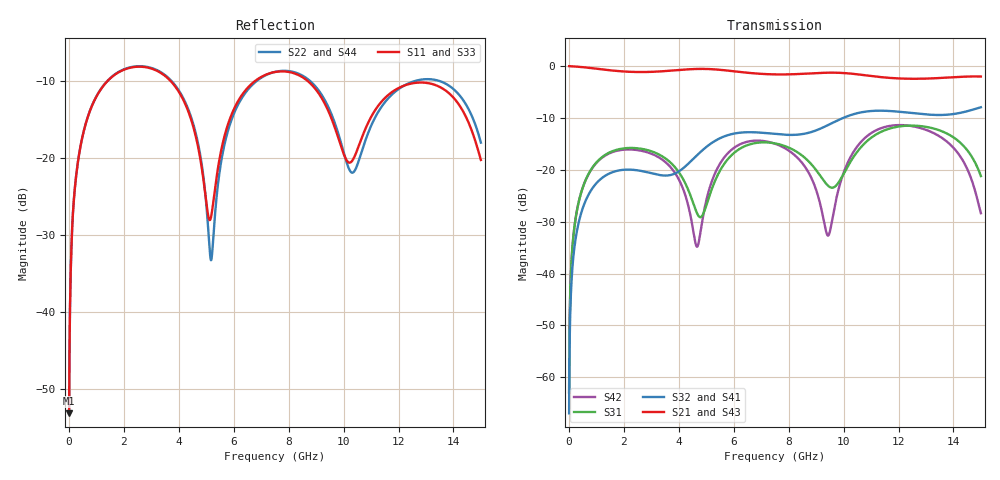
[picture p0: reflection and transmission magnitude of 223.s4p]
! Created with skrf 1.8.0 (http://scikit-rf.org).
# GHz S RI R 50.0
!freq ReS11 ImS11 ReS12 ImS12 ReS13 ImS13
! ReS14 ImS14
! ReS21 ImS21 ReS22 ImS22 ReS23 ImS23
! ReS24 ImS24
! ReS31 ImS31 ReS32 ImS32 ReS33 ImS33
! ReS34 ImS34
! ReS41 ImS41 ReS42 ImS42 ReS43 ImS43
! ReS44 ImS44
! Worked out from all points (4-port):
!   2499 points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, 5 MHz to 15 GHz, reference 50 ohm
!   strongest paths, dB at 5 MHz, 3.476 GHz, 7.19 GHz, 11.1 GHz, 15 GHz:
!     S21: 0.0, -1.0, -1.5, -2.0, -2.0
!     S43: 0.0, -1.0, -1.5, -2.0, -2.0
!     S32: -66.9, -21.1, -12.9, -8.6, -7.9
!     S41: -66.9, -21.1, -12.9, -8.6, -7.9
!     S31: -62.9, -17.7, -14.7, -13.5, -21.2
!     S42: -62.9, -18.4, -14.5, -12.6, -28.4
!   lowest |S11| = -53.2 dB at 5 MHz (marker M1), VSWR 1.00, Z = 50.2 + j0.132 ohm
!   |S11| at or under -10 dB: start of sweep to 1.414 GHz; 3.691 GHz to 6.79 GHz (3.099 GHz wide, 59.1 % of centre); 8.681 GHz to end of sweep
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0.005  0.00174 0.00132  0.9982 -0.00339  8.85e-05 0.000708  -8.57e-05 -0.000441
       0.9982 -0.00339  0.00174 0.00132  -8.57e-05 -0.000441  8.83e-05 0.000708
       8.85e-05 0.000708  -8.57e-05 -0.000441  0.00174 0.00132  0.9982 -0.00339
       -8.57e-05 -0.000441  8.83e-05 0.000708  0.9982 -0.00339  0.00174 0.00132
0.3626511  0.0334 0.0982  0.9538 -0.2416  0.0169 0.0472  -0.0135 -0.0288
           0.9538 -0.2416  0.0335 0.0982  -0.0135 -0.0288  0.0159 0.0475
           0.0169 0.0472  -0.0135 -0.0288  0.0334 0.0982  0.9537 -0.2416
           -0.0135 -0.0288  0.0159 0.0475  0.9537 -0.2416  0.0335 0.0982
1.619545  0.2991 0.1634  0.4772 -0.7676  0.1456 0.0454  -0.0954 0.00614
          0.4772 -0.7676  0.3023 0.1609  -0.0954 0.00613  0.1371 0.0593
          0.1456 0.0454  -0.0954 0.00613  0.2992 0.1635  0.4771 -0.7676
          -0.0954 0.00614  0.1371 0.0593  0.4771 -0.7676  0.3024 0.1609
5.177157  0.0402 0.0102  -0.9329 -0.0479  -0.0186 0.0599  -0.00404 0.1797
          -0.9329 -0.0479  0.0216 -0.000559  -0.00439 0.1799  0.0313 0.0672
          -0.0186 0.0599  -0.00439 0.1799  0.0388 0.00875  -0.9329 -0.048
          -0.00404 0.1797  0.0313 0.0672  -0.9329 -0.048  0.0231 -0.00197
7.934556  0.3611 -0.0271  -0.0262 0.8312  0.1383 -0.0929  0.2096 -0.0562
          -0.0262 0.8312  0.3656 -0.0224  0.2101 -0.0562  0.1412 -0.0696
          0.1383 -0.0929  0.2101 -0.0562  0.3612 -0.0251  -0.0249 0.8311
          0.2096 -0.0562  0.1412 -0.0696  -0.0249 0.8311  0.3659 -0.0257
10.65444  0.1207 0.0568  0.8227 -0.0427  0.0349 0.164  -0.0434 -0.3566
          0.8227 -0.0427  0.0993 0.0443  -0.0433 -0.3562  0.0688 0.1754
          0.0349 0.164  -0.0433 -0.3562  0.1229 0.0546  0.8226 -0.045
          -0.0434 -0.3566  0.0688 0.1754  0.8226 -0.045  0.0972 0.0422
15  0.0839 -0.0481  -0.6545 -0.4482  -0.0264 -0.0829  -0.2084 0.3429
    -0.6545 -0.4482  0.069 -0.1045  -0.2109 0.3412  0.034 -0.0175
    -0.0264 -0.0829  -0.2109 0.3412  0.0771 -0.0531  -0.6586 -0.4418
    -0.2084 0.3429  0.034 -0.0175  -0.6586 -0.4418  0.0743 -0.1016
